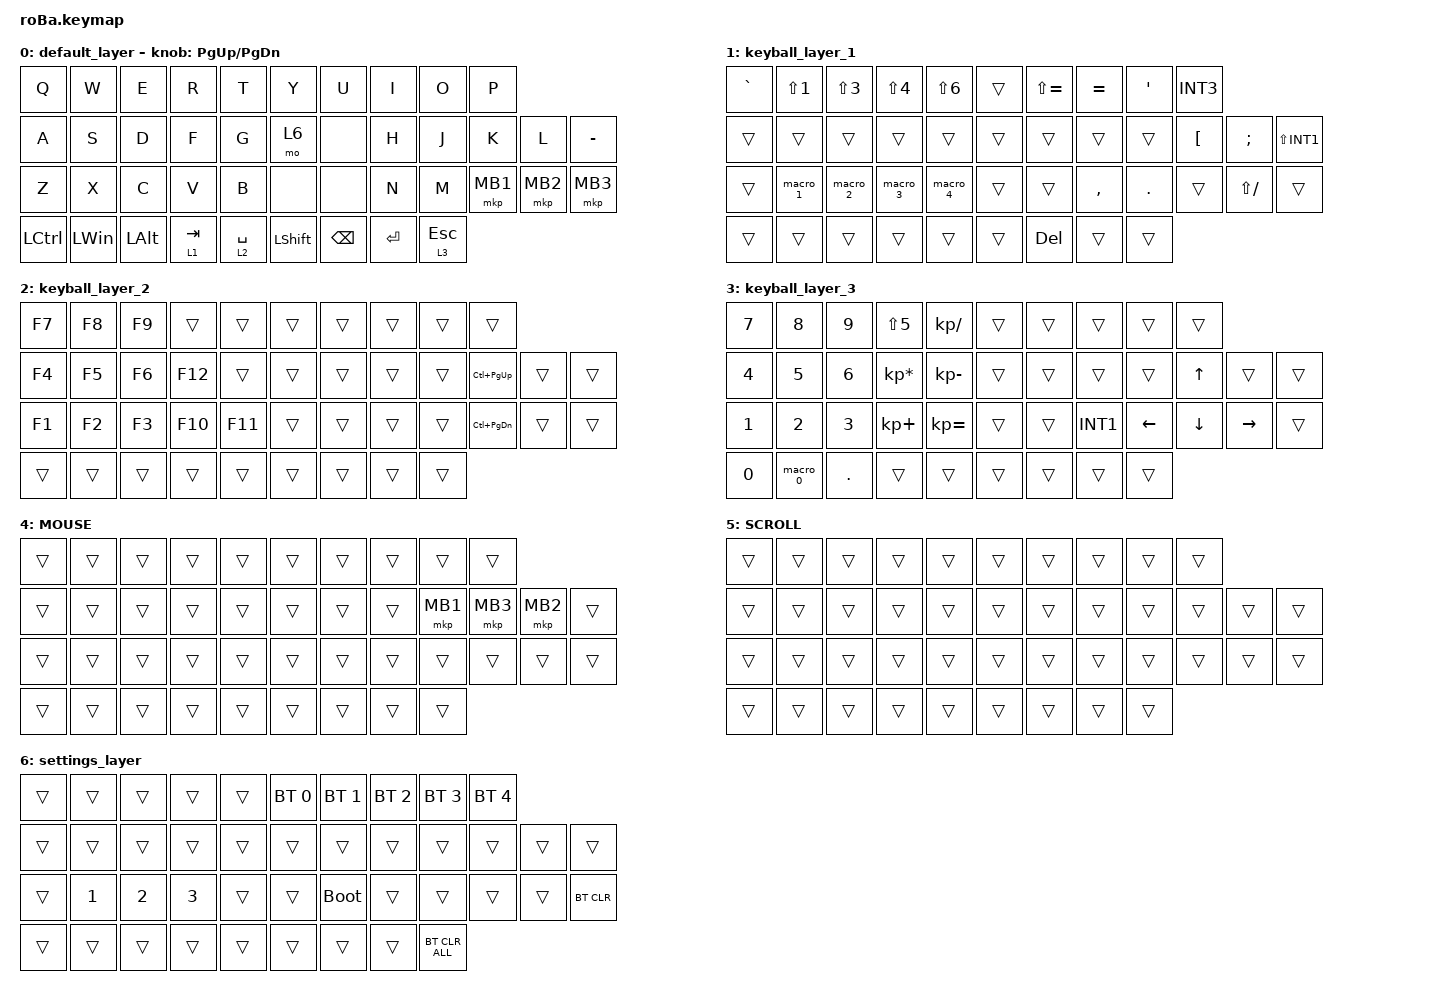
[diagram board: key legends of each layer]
#include <behaviors.dtsi>
#include <dt-bindings/zmk/bt.h>
#include <dt-bindings/zmk/keys.h>
#include <dt-bindings/zmk/pointing.h>

// Generated from Keyball39 VIA dump captured at 2026-06-16T12:35:04.759Z.
// Keyball39 has 39 visible keys; ROBA's extra inner keys are reserved for settings/unused.

&mt {
    flavor = "balanced";
    quick-tap-ms = <0>;
};

&trackball {
    automouse-layer = <4>;
};

/ {
    macros {
        macro_0: macro_0 {
            compatible = "zmk,behavior-macro";
            #binding-cells = <0>;
            wait-ms = <30>;
            tap-ms = <40>;
            bindings = <&kp NUMBER_0 &kp NUMBER_0>;
        };

        macro_1: macro_1 {
            compatible = "zmk,behavior-macro";
            #binding-cells = <0>;
            wait-ms = <30>;
            tap-ms = <40>;
            bindings = <&kp LS(NUMBER_8) &kp LS(NUMBER_9) &kp LEFT_ARROW>;
        };

        macro_2: macro_2 {
            compatible = "zmk,behavior-macro";
            #binding-cells = <0>;
            wait-ms = <30>;
            tap-ms = <40>;
            bindings = <&kp RIGHT_BRACKET &kp BACKSLASH &kp LEFT_ARROW>;
        };

        macro_3: macro_3 {
            compatible = "zmk,behavior-macro";
            #binding-cells = <0>;
            wait-ms = <30>;
            tap-ms = <40>;
            bindings = <&kp LS(RIGHT_BRACKET) &kp LS(BACKSLASH) &kp LEFT_ARROW>;
        };

        macro_4: macro_4 {
            compatible = "zmk,behavior-macro";
            #binding-cells = <0>;
            wait-ms = <30>;
            tap-ms = <40>;
            bindings = <&kp LS(COMMA) &kp LS(DOT) &kp LEFT_ARROW>;
        };
    };

    keymap {
        compatible = "zmk,keymap";

        default_layer {
            bindings = <
&kp Q          &kp W          &kp E          &kp R          &kp T          &kp Y          &kp U          &kp I          &kp O          &kp P
&kp A          &kp S          &kp D          &kp F          &kp G          &mo 6          &none          &kp H          &kp J          &kp K          &kp L          &kp MINUS
&kp Z          &kp X          &kp C          &kp V          &kp B          &none          &none          &kp N          &kp M          &mkp MB1       &mkp MB2       &mkp MB3
&kp LCTRL      &kp LEFT_WIN   &kp LEFT_ALT   &lt 1 TAB      &lt 2 SPACE    &kp LEFT_SHIFT &kp BACKSPACE  &kp ENTER      &lt 3 ESCAPE
            >;

            sensor-bindings = <&inc_dec_kp PG_UP PAGE_DOWN>;
        };
        keyball_layer_1 {
            bindings = <
&kp GRAVE        &kp LS(NUMBER_1) &kp LS(NUMBER_3) &kp LS(NUMBER_4) &kp LS(NUMBER_6) &trans           &kp LS(EQUAL)    &kp EQUAL        &kp SQT          &kp INT3
&trans           &trans           &trans           &trans           &trans           &trans           &trans           &trans           &trans           &kp LEFT_BRACKET &kp SEMICOLON    &kp LS(INT1)
&trans           &macro_1         &macro_2         &macro_3         &macro_4         &trans           &trans           &kp COMMA        &kp DOT          &trans           &kp LS(SLASH)    &trans
&trans           &trans           &trans           &trans           &trans           &trans           &kp DEL          &trans           &trans
            >;
        };
        keyball_layer_2 {
            bindings = <
&kp F7            &kp F8            &kp F9            &trans            &trans            &trans            &trans            &trans            &trans            &trans
&kp F4            &kp F5            &kp F6            &kp F12           &trans            &trans            &trans            &trans            &trans            &kp LC(PAGE_UP)   &trans            &trans
&kp F1            &kp F2            &kp F3            &kp F10           &kp F11           &trans            &trans            &trans            &trans            &kp LC(PAGE_DOWN) &trans            &trans
&trans            &trans            &trans            &trans            &trans            &trans            &trans            &trans            &trans
            >;
        };
        keyball_layer_3 {
            bindings = <
&kp NUMBER_7     &kp NUMBER_8     &kp NUMBER_9     &kp LS(NUMBER_5) &kp KP_SLASH     &trans           &trans           &trans           &trans           &trans
&kp NUMBER_4     &kp NUMBER_5     &kp NUMBER_6     &kp KP_ASTERISK  &kp KP_MINUS     &trans           &trans           &trans           &trans           &kp UP_ARROW     &trans           &trans
&kp NUMBER_1     &kp NUMBER_2     &kp NUMBER_3     &kp KP_PLUS      &kp KP_EQUAL     &trans           &trans           &kp INT1         &kp LEFT_ARROW   &kp DOWN_ARROW   &kp RIGHT_ARROW  &trans
&kp NUMBER_0     &macro_0         &kp DOT          &trans           &trans           &trans           &trans           &trans           &trans
            >;
        };
        MOUSE {
            bindings = <
&trans   &trans   &trans   &trans   &trans   &trans   &trans   &trans   &trans   &trans
&trans   &trans   &trans   &trans   &trans   &trans   &trans   &trans   &mkp MB1 &mkp MB3 &mkp MB2 &trans
&trans   &trans   &trans   &trans   &trans   &trans   &trans   &trans   &trans   &trans   &trans   &trans
&trans   &trans   &trans   &trans   &trans   &trans   &trans   &trans   &trans
            >;
        };
        SCROLL {
            bindings = <
&trans &trans &trans &trans &trans &trans &trans &trans &trans &trans
&trans &trans &trans &trans &trans &trans &trans &trans &trans &trans &trans &trans
&trans &trans &trans &trans &trans &trans &trans &trans &trans &trans &trans &trans
&trans &trans &trans &trans &trans &trans &trans &trans &trans
            >;
        };
        settings_layer {
            bindings = <
&trans         &trans         &trans         &trans         &trans         &bt BT_SEL 0   &bt BT_SEL 1   &bt BT_SEL 2   &bt BT_SEL 3   &bt BT_SEL 4
&trans         &trans         &trans         &trans         &trans         &trans         &trans         &trans         &trans         &trans         &trans         &trans
&trans         &kp NUMBER_1   &kp NUMBER_2   &kp NUMBER_3   &trans         &trans         &bootloader    &trans         &trans         &trans         &trans         &bt BT_CLR
&trans         &trans         &trans         &trans         &trans         &trans         &trans         &trans         &bt BT_CLR_ALL
            >;
        };
    };
};
